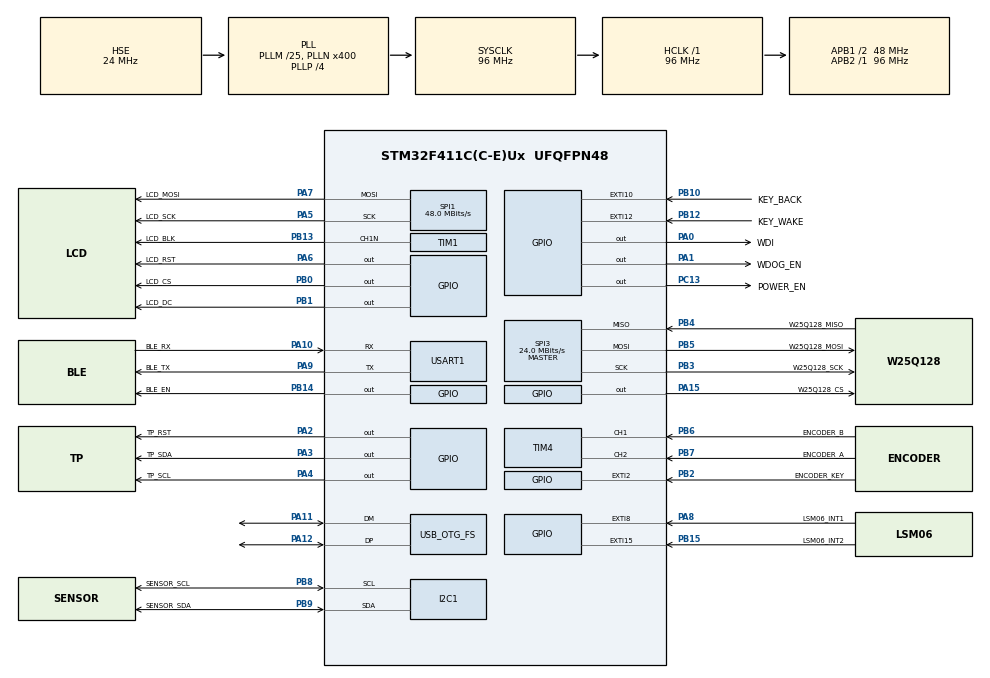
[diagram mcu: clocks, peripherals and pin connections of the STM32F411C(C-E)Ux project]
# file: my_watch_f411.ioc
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Dma.Request0=SPI1_TX
Dma.Request1=USART1_RX
Dma.SPI1_TX.0.Direction=DMA_MEMORY_TO_PERIPH
Dma.SPI1_TX.0.FIFOMode=DMA_FIFOMODE_DISABLE
Dma.SPI1_TX.0.Instance=DMA2_Stream2
Dma.SPI1_TX.0.MemDataAlignment=DMA_MDATAALIGN_BYTE
Dma.SPI1_TX.0.MemInc=DMA_MINC_ENABLE
Dma.SPI1_TX.0.Mode=DMA_NORMAL
Dma.SPI1_TX.0.PeriphDataAlignment=DMA_PDATAALIGN_BYTE
Dma.SPI1_TX.0.PeriphInc=DMA_PINC_DISABLE
Dma.SPI1_TX.0.Priority=DMA_PRIORITY_HIGH
Dma.USART1_RX.1.Direction=DMA_PERIPH_TO_MEMORY
Dma.USART1_RX.1.FIFOMode=DMA_FIFOMODE_DISABLE
Dma.USART1_RX.1.Instance=DMA2_Stream5
Dma.USART1_RX.1.MemDataAlignment=DMA_MDATAALIGN_BYTE
Dma.USART1_RX.1.MemInc=DMA_MINC_ENABLE
Dma.USART1_RX.1.Mode=DMA_NORMAL
Dma.USART1_RX.1.PeriphDataAlignment=DMA_PDATAALIGN_BYTE
Dma.USART1_RX.1.PeriphInc=DMA_PINC_DISABLE
Dma.USART1_RX.1.Priority=DMA_PRIORITY_LOW
FATFS._CODE_PAGE=936
FATFS._USE_FIND=1
FATFS._USE_LABEL=1
FATFS._USE_LFN=3
FREERTOS.Tasks01=defaultTask,24,1024,StartDefaultTask,Default,NULL,Dynamic,NULL,NULL
FREERTOS.configCHECK_FOR_STACK_OVERFLOW=2
FREERTOS.configTOTAL_HEAP_SIZE=20480
FREERTOS.configUSE_IDLE_HOOK=1
Mcu.Family=STM32F4
Mcu.Name=STM32F411C(C-E)Ux
Mcu.Package=UFQFPN48
NVIC.DMA2_Stream2_IRQn=true\:6\:0\:true\:false\:true\:true\:false\:true\:true
NVIC.DMA2_Stream5_IRQn=true\:5\:0\:true\:false\:true\:true\:false\:true\:true
NVIC.EXTI15_10_IRQn=true\:5\:0\:true\:false\:true\:true\:true\:true\:true
NVIC.EXTI2_IRQn=true\:5\:0\:false\:false\:true\:true\:true\:true\:true
NVIC.EXTI9_5_IRQn=true\:5\:0\:true\:false\:true\:true\:true\:true\:true
NVIC.OTG_FS_IRQn=true\:5\:0\:false\:false\:true\:true\:false\:true\:true
NVIC.PriorityGroup=NVIC_PRIORITYGROUP_4
NVIC.SPI1_IRQn=true\:6\:0\:true\:false\:true\:true\:true\:true\:true
NVIC.TIM5_IRQn=true\:15\:0\:false\:false\:true\:false\:false\:true\:true
NVIC.TimeBase=TIM5_IRQn
NVIC.TimeBaseIP=TIM5
NVIC.USART1_IRQn=true\:5\:0\:true\:false\:true\:true\:true\:true\:true
PA0-WKUP.GPIO_Label=WDI
PA0-WKUP.Signal=GPIO_Output
PA1.GPIO_Label=WDOG_EN
PA1.GPIO_PuPd=GPIO_PULLUP
PA1.PinState=GPIO_PIN_SET
PA1.Signal=GPIO_Output
PA10.GPIO_Label=BLE_RX
PA10.Mode=Asynchronous
PA10.Signal=USART1_RX
PA11.Mode=Device_Only
PA11.Signal=USB_OTG_FS_DM
PA12.Mode=Device_Only
PA12.Signal=USB_OTG_FS_DP
PA13.Mode=Serial_Wire
PA13.Signal=SYS_JTMS-SWDIO
PA14.Mode=Serial_Wire
PA14.Signal=SYS_JTCK-SWCLK
PA15.GPIO_Label=W25Q128_CS
PA15.PinState=GPIO_PIN_SET
PA15.Signal=GPIO_Output
PA2.GPIO_Label=TP_RST
PA2.Signal=GPIO_Output
PA3.GPIO_Label=TP_SDA
PA3.GPIO_ModeDefaultOutputPP=GPIO_MODE_OUTPUT_OD
PA3.GPIO_PuPd=GPIO_PULLUP
PA3.GPIO_Speed=GPIO_SPEED_FREQ_HIGH
PA3.PinState=GPIO_PIN_SET
PA3.Signal=GPIO_Output
PA4.GPIO_Label=TP_SCL
PA4.GPIO_ModeDefaultOutputPP=GPIO_MODE_OUTPUT_OD
PA4.GPIO_PuPd=GPIO_PULLUP
PA4.GPIO_Speed=GPIO_SPEED_FREQ_HIGH
PA4.PinState=GPIO_PIN_SET
PA4.Signal=GPIO_Output
PA5.GPIO_Label=LCD_SCK
PA5.Mode=TX_Only_Simplex_Unidirect_Master
PA5.Signal=SPI1_SCK
PA6.GPIO_Label=LCD_RST
PA6.GPIO_Speed=GPIO_SPEED_FREQ_HIGH
PA6.PinState=GPIO_PIN_SET
PA6.Signal=GPIO_Output
PA7.GPIO_Label=LCD_MOSI
PA7.Mode=TX_Only_Simplex_Unidirect_Master
PA7.Signal=SPI1_MOSI
PA8.GPIO_Label=LSM06_INT1
PA8.GPIO_ModeDefaultEXTI=GPIO_MODE_IT_RISING
PA8.GPIO_PuPd=GPIO_PULLDOWN
PA8.Signal=GPXTI8
PA9.GPIO_Label=BLE_TX
PA9.Mode=Asynchronous
PA9.Signal=USART1_TX
PB0.GPIO_Label=LCD_CS
PB0.GPIO_Speed=GPIO_SPEED_FREQ_VERY_HIGH
PB0.PinState=GPIO_PIN_SET
PB0.Signal=GPIO_Output
PB1.GPIO_Label=LCD_DC
PB1.GPIO_Speed=GPIO_SPEED_FREQ_VERY_HIGH
PB1.Signal=GPIO_Output
PB10.GPIO_Label=KEY_BACK
PB10.GPIO_ModeDefaultEXTI=GPIO_MODE_IT_FALLING
PB10.Signal=GPXTI10
PB12.GPIO_Label=KEY_WAKE
PB12.Signal=GPXTI12
PB13.GPIO_Label=LCD_BLK
PB13.Mode=PWM Generation1 CH1N
PB13.Signal=TIM1_CH1N
PB14.GPIO_Label=BLE_EN
PB14.GPIO_ModeDefaultOutputPP=GPIO_MODE_OUTPUT_OD
PB14.GPIO_PuPd=GPIO_PULLUP
PB14.PinState=GPIO_PIN_SET
PB14.Signal=GPIO_Output
PB15.GPIO_Label=LSM06_INT2
PB15.GPIO_ModeDefaultEXTI=GPIO_MODE_IT_RISING
PB15.GPIO_PuPd=GPIO_PULLDOWN
PB15.Signal=GPXTI15
PB2.GPIO_Label=ENCODER_KEY
PB2.GPIO_ModeDefaultEXTI=GPIO_MODE_IT_FALLING
PB2.GPIO_PuPd=GPIO_PULLUP
PB2.Signal=GPXTI2
PB3.GPIO_Label=W25Q128_SCK
PB3.Mode=Full_Duplex_Master
PB3.Signal=SPI3_SCK
PB4.GPIO_Label=W25Q128_MISO
PB4.Mode=Full_Duplex_Master
PB4.Signal=SPI3_MISO
PB5.GPIO_Label=W25Q128_MOSI
PB5.Mode=Full_Duplex_Master
PB5.Signal=SPI3_MOSI
PB6.GPIO_Label=ENCODER_B
PB6.GPIO_PuPd=GPIO_PULLUP
PB6.Signal=S_TIM4_CH1
PB7.GPIO_Label=ENCODER_A
PB7.GPIO_PuPd=GPIO_PULLUP
PB7.Signal=S_TIM4_CH2
PB8.GPIO_Label=SENSOR_SCL
PB8.Mode=I2C
PB8.Signal=I2C1_SCL
PB9.GPIO_Label=SENSOR_SDA
PB9.Mode=I2C
PB9.Signal=I2C1_SDA
PC13-ANTI_TAMP.GPIO_Label=POWER_EN
PC13-ANTI_TAMP.PinState=GPIO_PIN_SET
PC13-ANTI_TAMP.Signal=GPIO_Output
PC14-OSC32_IN.Mode=LSE-External-Oscillator
PC14-OSC32_IN.Signal=RCC_OSC32_IN
PC15-OSC32_OUT.Mode=LSE-External-Oscillator
PC15-OSC32_OUT.Signal=RCC_OSC32_OUT
PH0\ -\ OSC_IN.Mode=HSE-External-Oscillator
PH0\ -\ OSC_IN.Signal=RCC_OSC_IN
PH1\ -\ OSC_OUT.Mode=HSE-External-Oscillator
PH1\ -\ OSC_OUT.Signal=RCC_OSC_OUT
ProjectManager.HeapSize=0x200
ProjectManager.StackSize=0x400
ProjectManager.TargetToolchain=CMake
RCC.48MHZClocksFreq_Value=48000000
RCC.AHBFreq_Value=96000000
RCC.APB1CLKDivider=RCC_HCLK_DIV2
RCC.APB1Freq_Value=48000000
RCC.APB1TimFreq_Value=96000000
RCC.APB2Freq_Value=96000000
RCC.APB2TimFreq_Value=96000000
RCC.CortexFreq_Value=96000000
RCC.HCLKFreq_Value=96000000
RCC.HSE_VALUE=24000000
RCC.HSI_VALUE=16000000
RCC.LockedElements=USBOTGOutput,AHBOutput
RCC.PLLM=25
RCC.PLLN=400
RCC.PLLP=RCC_PLLP_DIV4
RCC.PLLQ=8
RCC.RCC_RTC_Clock_Source=RCC_RTCCLKSOURCE_LSE
RCC.RCC_RTC_Clock_SourceVirtual=RCC_RTCCLKSOURCE_LSE
RCC.SYSCLKFreq_VALUE=96000000
RCC.SYSCLKSource=RCC_SYSCLKSOURCE_PLLCLK
RCC.VCOOutputFreq_Value=384000000
SH.S_TIM4_CH1.0=TIM4_CH1,Encoder_Interface
SH.S_TIM4_CH2.0=TIM4_CH2,Encoder_Interface
SPI1.BaudRatePrescaler=SPI_BAUDRATEPRESCALER_2
SPI1.CLKPhase=SPI_PHASE_2EDGE
SPI1.CLKPolarity=SPI_POLARITY_HIGH
SPI1.CalculateBaudRate=48.0 MBits/s
SPI1.Direction=SPI_DIRECTION_2LINES
SPI1.Mode=SPI_MODE_MASTER
SPI1.VirtualType=VM_MASTER
SPI3.CalculateBaudRate=24.0 MBits/s
SPI3.Direction=SPI_DIRECTION_2LINES
SPI3.Mode=SPI_MODE_MASTER
SPI3.VirtualType=VM_MASTER
TIM1.Channel-PWM\ Generation1\ CH1N=TIM_CHANNEL_1
TIM1.Period=999
TIM1.Prescaler=95
TIM4.IC1Filter=15
TIM4.IC2Filter=12
USART1.VirtualMode=VM_ASYNC
USB_DEVICE.CLASS_NAME_FS=CDC
USB_DEVICE.VirtualMode=Cdc
USB_DEVICE.VirtualModeFS=Cdc_FS
USB_OTG_FS.VirtualMode=Device_Only
VP_FATFS_VS_Generic.Mode=User_defined
VP_FREERTOS_VS_CMSIS_V2.Mode=CMSIS_V2
VP_RTC_VS_RTC_Activate.Mode=RTC_Enabled
VP_RTC_VS_RTC_Calendar.Mode=RTC_Calendar
VP_SYS_VS_tim5.Mode=TIM5
VP_USB_DEVICE_VS_USB_DEVICE_CDC_FS.Mode=CDC_FS
board=custom

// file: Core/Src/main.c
/* USER CODE BEGIN Header */
/**
  ******************************************************************************
  * @file           : main.c
  * @brief          : Main program body
  ******************************************************************************
  * @attention
  *
  * Copyright (c) 2026 STMicroelectronics.
  * All rights reserved.
  *
  * This software is licensed under terms that can be found in the LICENSE file
  * in the root directory of this software component.
  * If no LICENSE file comes with this software, it is provided AS-IS.
  *
  ******************************************************************************
  */
/* USER CODE END Header */
#include "main.h"
#include "cmsis_os.h"
#include "dma.h"
#include "fatfs.h"
#include "i2c.h"
#include "rtc.h"
#include "spi.h"
#include "tim.h"
#include "usart.h"
#include "usb_device.h"
#include "gpio.h"

/* USER CODE BEGIN Includes */
#include "app/watch_app.h"
#include "app/watch_diagnostic.h"
#include "board/power/watch_power.h"

/* USER CODE END Includes */

void SystemClock_Config(void);
void MX_FREERTOS_Init(void);

int main(void)
{

  /* MCU Configuration--------------------------------------------------------*/

  /* Reset of all peripherals, Initializes the Flash interface and the Systick. */
  HAL_Init();

  /* USER CODE BEGIN Init */
  watch_power_latch_early();

  /* USER CODE END Init */

  /* Configure the system clock */
  SystemClock_Config();

  /* Initialize all configured peripherals */
  MX_GPIO_Init();
  MX_DMA_Init();
  MX_SPI1_Init();
  MX_USART1_UART_Init();
  MX_TIM1_Init();
  MX_SPI3_Init();
  MX_TIM4_Init();
  MX_I2C1_Init();
  MX_FATFS_Init();
  MX_RTC_Init();
  /* USER CODE BEGIN 2 */
  watch_app_init();

  /* USER CODE END 2 */

  /* Init scheduler */
  osKernelInitialize();

  /* Call init function for freertos objects (in cmsis_os2.c) */
  MX_FREERTOS_Init();

  /* Start scheduler */
  osKernelStart();

  /* We should never get here as control is now taken by the scheduler */

  /* Infinite loop */
  while (1)
  {

  }
}

void SystemClock_Config(void)
{
  RCC_OscInitTypeDef RCC_OscInitStruct = {0};
  RCC_ClkInitTypeDef RCC_ClkInitStruct = {0};

  /** Configure the main internal regulator output voltage
  */
  __HAL_RCC_PWR_CLK_ENABLE();
  __HAL_PWR_VOLTAGESCALING_CONFIG(PWR_REGULATOR_VOLTAGE_SCALE1);

  /** Initializes the RCC Oscillators according to the specified parameters
  * in the RCC_OscInitTypeDef structure.
  */
  RCC_OscInitStruct.OscillatorType = RCC_OSCILLATORTYPE_HSE|RCC_OSCILLATORTYPE_LSE;
  RCC_OscInitStruct.HSEState = RCC_HSE_ON;
  RCC_OscInitStruct.LSEState = RCC_LSE_ON;
  RCC_OscInitStruct.PLL.PLLState = RCC_PLL_ON;
  RCC_OscInitStruct.PLL.PLLSource = RCC_PLLSOURCE_HSE;
  RCC_OscInitStruct.PLL.PLLM = 25;
  RCC_OscInitStruct.PLL.PLLN = 400;
  RCC_OscInitStruct.PLL.PLLP = RCC_PLLP_DIV4;
  RCC_OscInitStruct.PLL.PLLQ = 8;
  if (HAL_RCC_OscConfig(&RCC_OscInitStruct) != HAL_OK)
  {
    Error_Handler();
  }

  /** Initializes the CPU, AHB and APB buses clocks
  */
  RCC_ClkInitStruct.ClockType = RCC_CLOCKTYPE_HCLK|RCC_CLOCKTYPE_SYSCLK
                              |RCC_CLOCKTYPE_PCLK1|RCC_CLOCKTYPE_PCLK2;
  RCC_ClkInitStruct.SYSCLKSource = RCC_SYSCLKSOURCE_PLLCLK;
  RCC_ClkInitStruct.AHBCLKDivider = RCC_SYSCLK_DIV1;
  RCC_ClkInitStruct.APB1CLKDivider = RCC_HCLK_DIV2;
  RCC_ClkInitStruct.APB2CLKDivider = RCC_HCLK_DIV1;

  if (HAL_RCC_ClockConfig(&RCC_ClkInitStruct, FLASH_LATENCY_3) != HAL_OK)
  {
    Error_Handler();
  }
}

void HAL_TIM_PeriodElapsedCallback(TIM_HandleTypeDef *htim)
{
  if (htim->Instance == TIM5)
  {
    HAL_IncTick();
  }
}

void Error_Handler(void)
{
  /* USER CODE BEGIN Error_Handler_Debug */
  watch_diagnostic_error();
  /* USER CODE END Error_Handler_Debug */
}

#ifdef  USE_FULL_ASSERT
/**
  * @brief  Reports the name of the source file and the source line number
  *         where the assert_param error has occurred.
  * @param  file: pointer to the source file name
  * @param  line: assert_param error line source number
  * @retval None
  */
void assert_failed(uint8_t *file, uint32_t line)
{
  /* USER CODE BEGIN 6 */
  watch_diagnostic_assert((const char *)file, line);
  /* USER CODE END 6 */
}
#endif /* USE_FULL_ASSERT */

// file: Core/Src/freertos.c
/* USER CODE BEGIN Header */
/**
  ******************************************************************************
  * File Name          : freertos.c
  * Description        : Code for freertos applications
  ******************************************************************************
  * @attention
  *
  * Copyright (c) 2026 STMicroelectronics.
  * All rights reserved.
  *
  * This software is licensed under terms that can be found in the LICENSE file
  * in the root directory of this software component.
  * If no LICENSE file comes with this software, it is provided AS-IS.
  *
  ******************************************************************************
  */
/* USER CODE END Header */

#include "FreeRTOS.h"
#include "task.h"
#include "main.h"
#include "cmsis_os.h"

/* USER CODE BEGIN Includes */
#include "app/watch_app.h"
#include "app/watch_diagnostic.h"
#include "app/watch_usb_diagnostic.h"
#include "board/bluetooth/watch_kt6368_board.h"
#include "ui/watch_ui.h"
#include "watch_runtime.h"

/* USER CODE END Includes */

/* USER CODE BEGIN Variables */
osThreadId_t usbDiagnosticTaskHandle;
const osThreadAttr_t usbDiagnosticTask_attributes = {
  .name = "usbDiagnostic",
  .stack_size = 1024 * 4,
  .priority = (osPriority_t) osPriorityBelowNormal,
};

/* USER CODE END Variables */
/* Definitions for defaultTask */
osThreadId_t defaultTaskHandle;
const osThreadAttr_t defaultTask_attributes = {
  .name = "defaultTask",
  .stack_size = 1024 * 4,
  .priority = (osPriority_t) osPriorityNormal,
};

/* USER CODE BEGIN FunctionPrototypes */
void StartUsbDiagnosticTask(void *argument);

/* USER CODE END FunctionPrototypes */

void StartDefaultTask(void *argument);

extern void MX_USB_DEVICE_Init(void);
void MX_FREERTOS_Init(void); /* (MISRA C 2004 rule 8.1) */

/* Hook prototypes */
void vApplicationIdleHook(void);
void vApplicationStackOverflowHook(xTaskHandle xTask, signed char *pcTaskName);

/* USER CODE BEGIN 2 */
void vApplicationIdleHook( void )
{
   /* vApplicationIdleHook() will only be called if configUSE_IDLE_HOOK is set
   to 1 in FreeRTOSConfig.h. It will be called on each iteration of the idle
   task. It is essential that code added to this hook function never attempts
   to block in any way (for example, call xQueueReceive() with a block time
   specified, or call vTaskDelay()). If the application makes use of the
   vTaskDelete() API function (as this demo application does) then it is also
   important that vApplicationIdleHook() is permitted to return to its calling
   function, because it is the responsibility of the idle task to clean up
   memory allocated by the kernel to any task that has since been deleted. */
}
/* USER CODE END 2 */

/* USER CODE BEGIN 4 */
void vApplicationStackOverflowHook(xTaskHandle xTask, signed char *pcTaskName)
{
   (void)xTask;
   watch_diagnostic_stack_overflow(pcTaskName);
}
/* USER CODE END 4 */

void MX_FREERTOS_Init(void) {

  /* Create the thread(s) */
  /* creation of defaultTask */
  defaultTaskHandle = osThreadNew(StartDefaultTask, NULL, &defaultTask_attributes);

}

void StartDefaultTask(void *argument)
{
  /* init code for USB_DEVICE */
  MX_USB_DEVICE_Init();
  (void)watch_kt6368_board_init();
  /* USER CODE BEGIN StartDefaultTask */
  (void)argument;

  usbDiagnosticTaskHandle = osThreadNew(StartUsbDiagnosticTask, NULL,
                                        &usbDiagnosticTask_attributes);
  if (usbDiagnosticTaskHandle == NULL
      || (watch_app_is_ready() && !watch_ui_start())) {
    watch_runtime_fail();
  }

  osThreadExit();
  /* USER CODE END StartDefaultTask */
}

/* USER CODE BEGIN Application */
void StartUsbDiagnosticTask(void *argument)
{
  (void)argument;

  for (;;) {
    watch_usb_diagnostic_process();
    osDelay(1);
  }
}

/* USER CODE END Application */
